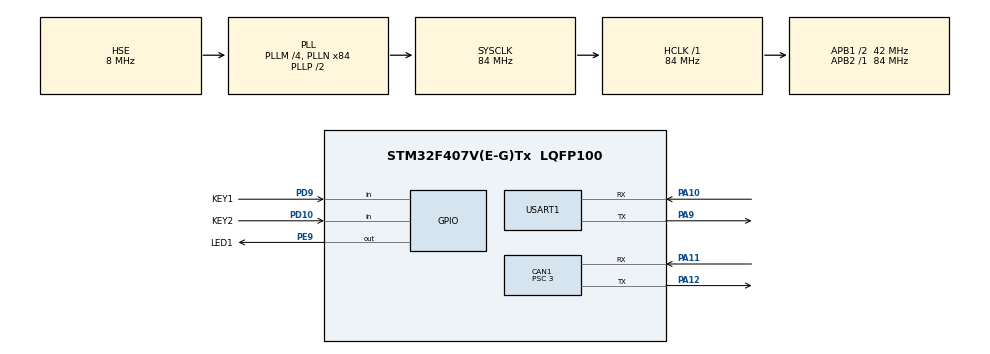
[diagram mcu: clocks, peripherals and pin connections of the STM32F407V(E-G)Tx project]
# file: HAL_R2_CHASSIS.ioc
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CAN1.BS1=CAN_BS1_9TQ
CAN1.BS2=CAN_BS2_4TQ
CAN1.CalculateBaudRate=1000000
CAN1.CalculateTimeBit=1000
CAN1.CalculateTimeQuantum=71.42857142857143
CAN1.Prescaler=3
FREERTOS.Events01=myEvent01,Dynamic,NULL
FREERTOS.Tasks01=defaultTask,24,128,StartDefaultTask,Default,NULL,Dynamic,NULL,NULL;myTask02,26,128,StartTask02,Default,NULL,Dynamic,NULL,NULL
Mcu.Family=STM32F4
Mcu.Name=STM32F407V(E-G)Tx
Mcu.Package=LQFP100
NVIC.CAN1_RX0_IRQn=true\:5\:0\:true\:false\:true\:true\:true\:true\:true
NVIC.PriorityGroup=NVIC_PRIORITYGROUP_4
NVIC.TIM2_IRQn=true\:15\:0\:false\:false\:true\:false\:false\:true\:true
NVIC.TimeBase=TIM2_IRQn
NVIC.TimeBaseIP=TIM2
NVIC.USART1_IRQn=true\:5\:0\:true\:false\:true\:true\:true\:true\:true
PA10.Mode=Asynchronous
PA10.Signal=USART1_RX
PA11.Mode=CAN_Activate
PA11.Signal=CAN1_RX
PA12.Mode=CAN_Activate
PA12.Signal=CAN1_TX
PA13.Mode=Serial_Wire
PA13.Signal=SYS_JTMS-SWDIO
PA14.Mode=Serial_Wire
PA14.Signal=SYS_JTCK-SWCLK
PA9.Mode=Asynchronous
PA9.Signal=USART1_TX
PD10.GPIO_Label=KEY2
PD10.GPIO_PuPd=GPIO_PULLUP
PD10.Signal=GPIO_Input
PD9.GPIO_Label=KEY1
PD9.GPIO_PuPd=GPIO_PULLUP
PD9.Signal=GPIO_Input
PE9.GPIO_Label=LED1
PE9.GPIO_Speed=GPIO_SPEED_FREQ_HIGH
PE9.PinState=GPIO_PIN_SET
PE9.Signal=GPIO_Output
PH0-OSC_IN.Mode=HSE-External-Oscillator
PH0-OSC_IN.Signal=RCC_OSC_IN
PH1-OSC_OUT.Mode=HSE-External-Oscillator
PH1-OSC_OUT.Signal=RCC_OSC_OUT
ProjectManager.HeapSize=0x200
ProjectManager.StackSize=0x400
ProjectManager.TargetToolchain=MDK-ARM V5.32
RCC.48MHZClocksFreq_Value=42000000
RCC.AHBFreq_Value=84000000
RCC.APB1CLKDivider=RCC_HCLK_DIV2
RCC.APB1Freq_Value=42000000
RCC.APB1TimFreq_Value=84000000
RCC.APB2Freq_Value=84000000
RCC.APB2TimFreq_Value=84000000
RCC.CortexFreq_Value=84000000
RCC.HCLKFreq_Value=84000000
RCC.HSE_VALUE=8000000
RCC.HSI_VALUE=16000000
RCC.LSE_VALUE=32768
RCC.PLLM=4
RCC.PLLN=84
RCC.PLLSourceVirtual=RCC_PLLSOURCE_HSE
RCC.SYSCLKFreq_VALUE=84000000
RCC.SYSCLKSource=RCC_SYSCLKSOURCE_PLLCLK
RCC.VCOOutputFreq_Value=168000000
USART1.VirtualMode=VM_ASYNC
VP_FREERTOS_VS_CMSIS_V2.Mode=CMSIS_V2
VP_SYS_VS_tim2.Mode=TIM2
board=custom

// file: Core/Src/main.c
/* USER CODE BEGIN Header */
/**
  ******************************************************************************
  * @file           : main.c
  * @brief          : Main program body
  ******************************************************************************
  * @attention
  *
  * Copyright (c) 2023 STMicroelectronics.
  * All rights reserved.
  *
  * This software is licensed under terms that can be found in the LICENSE file
  * in the root directory of this software component.
  * If no LICENSE file comes with this software, it is provided AS-IS.
  *
  ******************************************************************************
  */
/* USER CODE END Header */
#include "main.h"
#include "cmsis_os.h"
#include "can.h"
#include "usart.h"
#include "gpio.h"

void SystemClock_Config(void);
void MX_FREERTOS_Init(void);

int main(void)
{

  /* MCU Configuration--------------------------------------------------------*/

  /* Reset of all peripherals, Initializes the Flash interface and the Systick. */
  HAL_Init();

  /* Configure the system clock */
  SystemClock_Config();

  /* Initialize all configured peripherals */
  MX_GPIO_Init();
  MX_CAN1_Init();
  MX_USART1_UART_Init();
  /* USER CODE BEGIN 2 */

  //各电机pid参数的初始化
  extern unsigned char USART_Receiver1;
  HAL_UART_Receive_IT(&huart1, &USART_Receiver1, 1); // 继续监听

  /* USER CODE END 2 */

  /* Init scheduler */
  osKernelInitialize();  /* Call init function for freertos objects (in freertos.c) */
  MX_FREERTOS_Init();

  /* Start scheduler */
  osKernelStart();
  /* We should never get here as control is now taken by the scheduler */
  /* Infinite loop */
  while (1)
  {

  }
}

void SystemClock_Config(void)
{
  RCC_OscInitTypeDef RCC_OscInitStruct = {0};
  RCC_ClkInitTypeDef RCC_ClkInitStruct = {0};

  /** Configure the main internal regulator output voltage
  */
  __HAL_RCC_PWR_CLK_ENABLE();
  __HAL_PWR_VOLTAGESCALING_CONFIG(PWR_REGULATOR_VOLTAGE_SCALE1);

  /** Initializes the RCC Oscillators according to the specified parameters
  * in the RCC_OscInitTypeDef structure.
  */
  RCC_OscInitStruct.OscillatorType = RCC_OSCILLATORTYPE_HSE;
  RCC_OscInitStruct.HSEState = RCC_HSE_ON;
  RCC_OscInitStruct.PLL.PLLState = RCC_PLL_ON;
  RCC_OscInitStruct.PLL.PLLSource = RCC_PLLSOURCE_HSE;
  RCC_OscInitStruct.PLL.PLLM = 4;
  RCC_OscInitStruct.PLL.PLLN = 84;
  RCC_OscInitStruct.PLL.PLLP = RCC_PLLP_DIV2;
  RCC_OscInitStruct.PLL.PLLQ = 4;
  if (HAL_RCC_OscConfig(&RCC_OscInitStruct) != HAL_OK)
  {
    Error_Handler();
  }

  /** Initializes the CPU, AHB and APB buses clocks
  */
  RCC_ClkInitStruct.ClockType = RCC_CLOCKTYPE_HCLK|RCC_CLOCKTYPE_SYSCLK
                              |RCC_CLOCKTYPE_PCLK1|RCC_CLOCKTYPE_PCLK2;
  RCC_ClkInitStruct.SYSCLKSource = RCC_SYSCLKSOURCE_PLLCLK;
  RCC_ClkInitStruct.AHBCLKDivider = RCC_SYSCLK_DIV1;
  RCC_ClkInitStruct.APB1CLKDivider = RCC_HCLK_DIV2;
  RCC_ClkInitStruct.APB2CLKDivider = RCC_HCLK_DIV1;

  if (HAL_RCC_ClockConfig(&RCC_ClkInitStruct, FLASH_LATENCY_2) != HAL_OK)
  {
    Error_Handler();
  }
}

void HAL_TIM_PeriodElapsedCallback(TIM_HandleTypeDef *htim)
{
  if (htim->Instance == TIM2) {
    HAL_IncTick();
  }
}

void Error_Handler(void)
{
  __disable_irq();
  while (1)
  {
  }
}

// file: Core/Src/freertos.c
/* USER CODE BEGIN Header */
/**
  ******************************************************************************
  * File Name          : freertos.c
  * Description        : Code for freertos applications
  ******************************************************************************
  * @attention
  *
  * Copyright (c) 2023 STMicroelectronics.
  * All rights reserved.
  *
  * This software is licensed under terms that can be found in the LICENSE file
  * in the root directory of this software component.
  * If no LICENSE file comes with this software, it is provided AS-IS.
  *
  ******************************************************************************
  */
/* USER CODE END Header */

#include "FreeRTOS.h"
#include "task.h"
#include "main.h"
#include "cmsis_os.h"

/* Definitions for defaultTask */
osThreadId_t defaultTaskHandle;
const osThreadAttr_t defaultTask_attributes = {
  .name = "defaultTask",
  .stack_size = 128 * 4,
  .priority = (osPriority_t) osPriorityNormal,
};
/* Definitions for myTask02 */
osThreadId_t myTask02Handle;
const osThreadAttr_t myTask02_attributes = {
  .name = "myTask02",
  .stack_size = 128 * 4,
  .priority = (osPriority_t) osPriorityNormal2,
};
/* Definitions for myEvent01 */
osEventFlagsId_t myEvent01Handle;
const osEventFlagsAttr_t myEvent01_attributes = {
  .name = "myEvent01"
};

/* USER CODE BEGIN FunctionPrototypes */
	#include "user_can_init.h"
	#include "chassis.h"
	#include "pid.h"
	#include "queue.h"
	#include "event_groups.h"

	#define KEY1_EVENT  (0x01 << 0)//�����¼������λ0
	#define KEY2_EVENT  (0x01 << 1)//�����¼������λ1
/* USER CODE END FunctionPrototypes */

void StartDefaultTask(void *argument);
void StartTask02(void *argument);

void MX_FREERTOS_Init(void); /* (MISRA C 2004 rule 8.1) */

void MX_FREERTOS_Init(void) {

  /* Create the thread(s) */
  /* creation of defaultTask */
  defaultTaskHandle = osThreadNew(StartDefaultTask, NULL, &defaultTask_attributes);

  /* creation of myTask02 */
  myTask02Handle = osThreadNew(StartTask02, NULL, &myTask02_attributes);

  /* Create the event(s) */
  /* creation of myEvent01 */
  myEvent01Handle = osEventFlagsNew(&myEvent01_attributes);

}

void StartDefaultTask(void *argument)
{
  /* USER CODE BEGIN StartDefaultTask */
	User_Open_Can();

	PID_Parameter_Speed_Init(&M3508_PID[0],10.0,1.0,0.1 , 15000 ,5000 , 0 , 500);	//1�ŵ��
	PID_Parameter_Speed_Init(&M3508_PID[1],10.0,1.0,0.1 , 15000 ,5000 , 0 , 500);	//2�ŵ��
	PID_Parameter_Speed_Init(&M3508_PID[2],10.0,1.0,0.1 , 15000 ,5000 , 0 , 500);	//3�ŵ��
	PID_Parameter_Speed_Init(&M3508_PID[3],10.0,1.0,0.1 , 15000 ,5000 , 0 , 500);	//4�ŵ��

	ROBOT_CHASSI.SPEED.Robot_VX = 0;
	ROBOT_CHASSI.SPEED.Robot_VY = 0;
	ROBOT_CHASSI.SPEED.World_W = 0;

  /* Infinite loop */
  for(;;)
  {
    Usart_Send_Data(1000,M3508_CHASSIS_MOTOR_REAL_INFO[1].RPM,1999.88,1);
	//printf("ok\r\n");
	  Robot_Wheels_Adjust();
	  osDelay(10);
  }
  /* USER CODE END StartDefaultTask */
}

void StartTask02(void *argument)
{
  /* USER CODE BEGIN StartTask02 */
  /* Infinite loop */
  for(;;)
  {
    osDelay(20);
  }
  /* USER CODE END StartTask02 */
}
